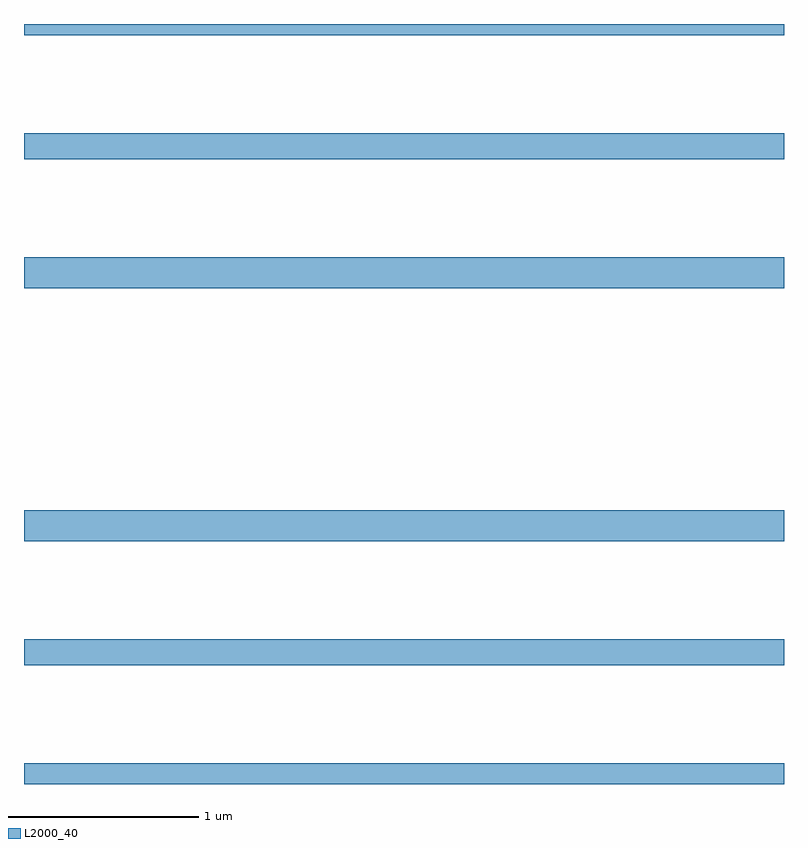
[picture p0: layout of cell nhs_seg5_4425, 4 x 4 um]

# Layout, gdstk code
import gdstk
lib = gdstk.Library(unit=1e-6, precision=1e-09)
def R(c, l, rs):  # rectangles x0, y0, x1, y1
    for r in rs: c.add(gdstk.rectangle(r[:2], r[2:], *l))
L2000_40 = (2000, 40)

nhs_seg5_4425 = lib.new_cell('nhs_seg5_4425')
R(nhs_seg5_4425, L2000_40, [(371,872.799,375,872.908), (371,873.424,375,873.56), (371,874.076,375,874.24), (371,875.408,375,875.572), (371,876.088,375,876.224), (371,876.74,375,876.799)])

lib.write_gds('nhs_seg5_4425.gds')
